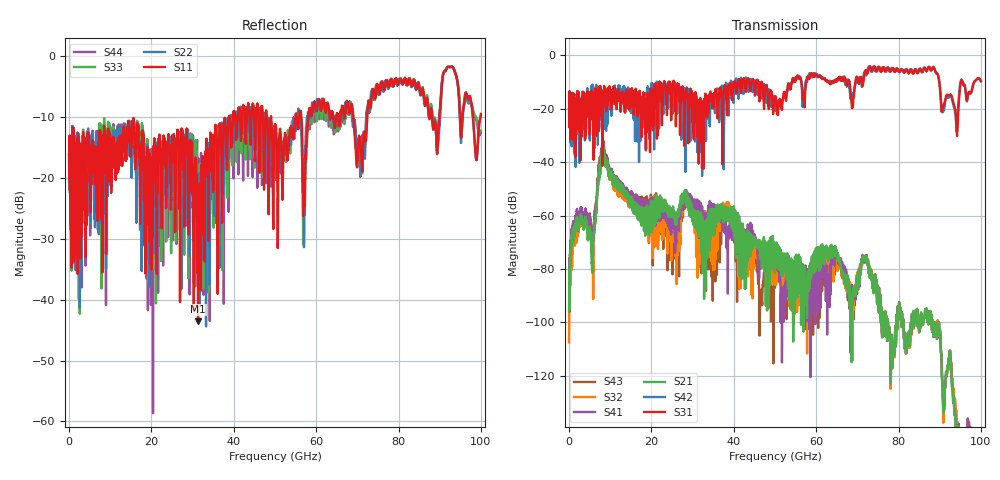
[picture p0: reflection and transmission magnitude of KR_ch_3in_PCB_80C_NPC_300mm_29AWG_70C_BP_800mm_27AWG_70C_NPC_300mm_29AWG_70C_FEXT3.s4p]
# GHz S RI R 45
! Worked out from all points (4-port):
!   4000 points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, 25 MHz to 100 GHz, reference 45 ohm
!   strongest paths, dB at 25 MHz, 25.02 GHz, 50.02 GHz, 75.03 GHz, 100 GHz:
!     S31: -20.0, -15.0, -15.8, -5.0, -9.6
!     S42: -20.0, -17.9, -18.0, -4.4, -9.7
!     S21: -96.0, -58.3, -74.9, -91.4, -165.4
!     S41: -94.7, -61.7, -77.5, -91.4, -161.4
!     S32: -107.5, -65.5, -77.4, -91.2, -167.3
!     S43: -95.6, -70.1, -86.0, -91.1, -185.9
!   lowest |S11| = -43.6 dB at 31.32 GHz (marker M1), VSWR 1.01, Z = 44.4 - j0.114 ohm
!   |S11| at or under -10 dB: start of sweep to 38.74 GHz; 49.09 GHz to 54.99 GHz (5.899 GHz wide, 11.3 % of centre); 69.01 GHz to 72.38 GHz (3.369 GHz wide, 4.77 % of centre)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
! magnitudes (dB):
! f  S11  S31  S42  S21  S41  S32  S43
! 25 MHz  -16.0  -20.0  -20.0  -96.0  -94.7  -107.5  -95.6
! 5.775 GHz  -15.0  -23.0  -20.6  -74.3  -69.9  -77.9  -68.8
! 8.25 GHz  -13.0  -13.2  -17.5  -36.9  -35.1  -35.5  -34.1
! 26.3 GHz  -12.9  -11.0  -18.6  -59.8  -63.1  -68.0  -71.5
! 31.32 GHz  -43.6  -21.2  -21.7  -59.1  -54.8  -64.4  -57.2
! 46.52 GHz  -10.3  -10.9  -11.4  -76.4  -78.3  -76.1  -89.9
! 100 GHz  -9.5  -9.6  -9.7  -165.4  -161.4  -167.3  -185.9
